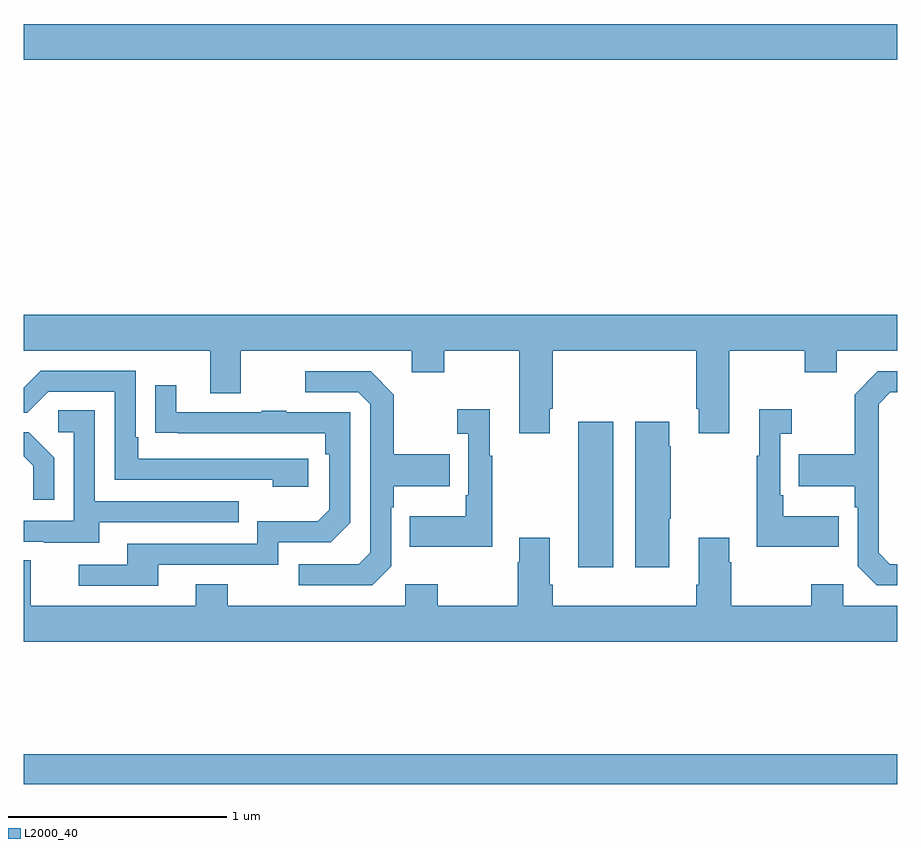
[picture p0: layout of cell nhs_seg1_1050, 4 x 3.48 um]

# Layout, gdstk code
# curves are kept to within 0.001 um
import gdstk
lib = gdstk.Library(unit=1e-6, precision=1e-09)
def R(c, l, rs):  # rectangles x0, y0, x1, y1
    for r in rs: c.add(gdstk.rectangle(r[:2], r[2:], *l))
def P(c, l, *ps):  # polygons
    for p in ps: c.add(gdstk.Polygon(p, *l))
L2000_40 = (2000, 40)

nhs_seg1_1050 = lib.new_cell('nhs_seg1_1050')
R(nhs_seg1_1050, L2000_40, [(169,504.46,173,504.596), (171.539,505.452,171.7,506.119), (169,507.776,173,507.94)])
P(nhs_seg1_1050, L2000_40, [(171.409,506.179),(171.422,506.179),(171.422,506.444),(172.079,506.444),(172.079,506.179),(172.091,506.179),(172.091,506.067),(172.231,506.067),(172.231,506.444),(172.576,506.444),(172.576,506.345),(172.723,506.345),(172.723,506.444),(173,506.444),(173,506.608),(169,506.608),(169,506.444),(169.853,506.444),(169.853,506.25),(169.993,506.25),(169.993,506.444),(170.777,506.444),(170.777,506.345),(170.925,506.345),(170.925,506.444),(171.269,506.444),(171.269,506.067),(171.409,506.067)],
  [(170.302,505.95),(169.525,505.95),(169.525,506.047),(169.512,506.047),(169.512,506.352),(169.077,506.352),(169,506.275),(169,506.16),(169.017,506.16),(169.113,506.256),(169.416,506.256),(169.416,505.854),(170.141,505.854),(170.141,505.82),(170.302,505.82)],
  [(170.682,505.458),(170.682,505.727),(170.695,505.727),(170.695,505.823),(170.951,505.823),(170.951,505.971),(170.695,505.971),(170.695,506.243),(170.589,506.349),(170.289,506.349),(170.289,506.253),(170.532,506.253),(170.586,506.199),(170.586,505.518),(170.535,505.467),(170.259,505.467),(170.259,505.371),(170.595,505.371)],
  [(173,505.467),(172.965,505.467),(172.914,505.518),(172.914,506.199),(172.968,506.253),(173,506.253),(173,506.349),(172.911,506.349),(172.806,506.243),(172.806,505.971),(172.549,505.971),(172.549,505.823),(172.806,505.823),(172.806,505.727),(172.818,505.727),(172.818,505.458),(172.905,505.371),(173,505.371)],
  [(169.615,505.464),(170.166,505.464),(170.166,505.566),(170.406,505.566),(170.496,505.656),(170.496,506.163),(170.201,506.163),(170.201,506.168),(170.089,506.168),(170.089,506.163),(169.699,506.163),(169.699,506.287),(169.603,506.287),(169.603,506.068),(170.38,506.067),(170.38,505.97),(170.4,505.97),(170.4,505.716),(170.347,505.663),(170.07,505.663),(170.07,505.56),(169.475,505.56),(169.475,505.464),(169.251,505.464),(169.251,505.368),(169.615,505.368)],
  [(171.145,505.963),(171.133,505.963),(171.133,506.176),(170.985,506.176),(170.985,506.063),(171.036,506.063),(171.036,505.783),(171.024,505.783),(171.024,505.687),(170.767,505.687),(170.767,505.547),(171.145,505.547)],
  [(172.733,505.687),(172.477,505.687),(172.477,505.783),(172.464,505.783),(172.464,506.063),(172.516,506.063),(172.516,506.176),(172.367,506.176),(172.367,505.963),(172.356,505.963),(172.356,505.547),(172.733,505.547)],
  [(169.345,505.659),(169.985,505.659),(169.985,505.755),(169.326,505.755),(169.326,506.171),(169.158,506.171),(169.158,506.07),(169.23,506.07),(169.23,505.665),(169,505.665),(169,505.569),(169.091,505.569),(169.091,505.565),(169.345,505.565)],
  [(171.955,505.675),(171.963,505.675),(171.963,506.006),(171.955,506.006),(171.955,506.119),(171.8,506.119),(171.8,505.452),(171.955,505.452)],
  [(169.14,505.954),(169.024,506.07),(169,506.07),(169,505.96),(169.043,505.917),(169.043,505.761),(169.14,505.761)],
  [(173,505.276),(172.752,505.276),(172.752,505.375),(172.606,505.375),(172.606,505.276),(172.239,505.276),(172.239,505.475),(172.231,505.475),(172.231,505.588),(172.091,505.588),(172.091,505.372),(172.079,505.372),(172.079,505.276),(171.422,505.276),(171.422,505.372),(171.409,505.372),(171.409,505.588),(171.269,505.588),(171.269,505.475),(171.262,505.475),(171.262,505.276),(170.895,505.276),(170.895,505.375),(170.748,505.375),(170.748,505.276),(169.935,505.276),(169.935,505.375),(169.787,505.375),(169.787,505.276),(169.033,505.276),(169.033,505.484),(169,505.484),(169,505.112),(173,505.112)])

lib.write_gds('nhs_seg1_1050.gds')
